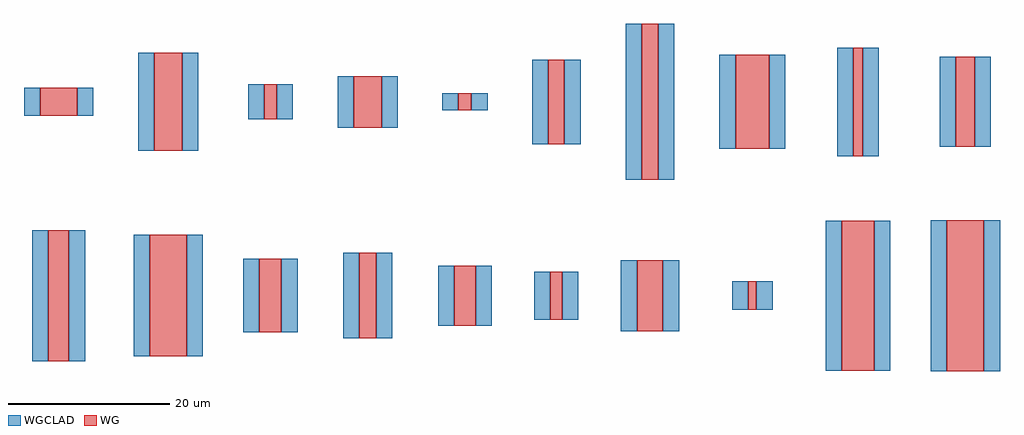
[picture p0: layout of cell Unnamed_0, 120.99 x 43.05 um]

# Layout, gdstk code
from math import pi, radians
import gdstk
lib = gdstk.Library(unit=1e-6, precision=1e-09)
def R(c, l, rs):  # rectangles x0, y0, x1, y1
    for r in rs: c.add(gdstk.rectangle(r[:2], r[2:], *l))
WG = (1, 0)
WGCLAD = (111, 0)

straight_cssym_f7fe636c_ = lib.new_cell('straight_CSsym_f7fe636c_1602_L2089')
R(straight_cssym_f7fe636c_, WG, [(0,-0.801,2.089,0.801)])
R(straight_cssym_f7fe636c_, WGCLAD, [(0,-2.801,2.089,-0.801), (0,0.801,2.089,2.801)])

c_straight_cssym_f7fe636c_ = lib.new_cell('straight_CSsym_f7fe636c_3418_L6376')
R(c_straight_cssym_f7fe636c_, WG, [(0,-1.709,6.376,1.709)])
R(c_straight_cssym_f7fe636c_, WGCLAD, [(0,-3.709,6.376,-1.709), (0,1.709,6.376,3.709)])

c_straight_cssym_f7fe636c__ = lib.new_cell('straight_CSsym_f7fe636c_2554_L16210')
R(c_straight_cssym_f7fe636c__, WG, [(0,-1.277,16.21,1.277)])
R(c_straight_cssym_f7fe636c__, WGCLAD, [(0,-3.277,16.21,-1.277), (0,1.277,16.21,3.277)])

c_straight_cssym_f7fe636c___ = lib.new_cell('straight_CSsym_f7fe636c_4594_L15047')
R(c_straight_cssym_f7fe636c___, WG, [(0,-2.297,15.047,2.297)])
R(c_straight_cssym_f7fe636c___, WGCLAD, [(0,-4.297,15.047,-2.297), (0,2.297,15.047,4.297)])

c_straight_cssym_f7fe636c____ = lib.new_cell('straight_CSsym_f7fe636c_2726_L9108')
R(c_straight_cssym_f7fe636c____, WG, [(0,-1.363,9.108,1.363)])
R(c_straight_cssym_f7fe636c____, WGCLAD, [(0,-3.363,9.108,-1.363), (0,1.363,9.108,3.363)])

c_straight_cssym_f7fe636c_____ = lib.new_cell('straight_CSsym_f7fe636c_2126_L10594')
R(c_straight_cssym_f7fe636c_____, WG, [(0,-1.063,10.594,1.063)])
R(c_straight_cssym_f7fe636c_____, WGCLAD, [(0,-3.063,10.594,-1.063), (0,1.063,10.594,3.063)])

c_straight_cssym_f7fe636c______ = lib.new_cell('straight_CSsym_f7fe636c_2666_L7448')
R(c_straight_cssym_f7fe636c______, WG, [(0,-1.333,7.448,1.333)])
R(c_straight_cssym_f7fe636c______, WGCLAD, [(0,-3.333,7.448,-1.333), (0,1.333,7.448,3.333)])

c_straight_cssym_f7fe636c_______ = lib.new_cell('straight_CSsym_f7fe636c_1462_L5964')
R(c_straight_cssym_f7fe636c_______, WG, [(0,-0.731,5.964,0.731)])
R(c_straight_cssym_f7fe636c_______, WGCLAD, [(0,-2.731,5.964,-0.731), (0,0.731,5.964,2.731)])

c_straight_cssym_f7fe636c________ = lib.new_cell('straight_CSsym_f7fe636c_2002_L10478')
R(c_straight_cssym_f7fe636c________, WG, [(0,-1.001,10.478,1.001)])
R(c_straight_cssym_f7fe636c________, WGCLAD, [(0,-3.001,10.478,-1.001), (0,1.001,10.478,3.001)])

c_straight_cssym_f7fe636c_________ = lib.new_cell('straight_CSsym_f7fe636c_3212_L8794')
R(c_straight_cssym_f7fe636c_________, WG, [(0,-1.606,8.794,1.606)])
R(c_straight_cssym_f7fe636c_________, WGCLAD, [(0,-3.606,8.794,-1.606), (0,1.606,8.794,3.606)])

c_straight_cssym_f7fe636c__________ = lib.new_cell('straight_CSsym_f7fe636c_1998_L19338')
R(c_straight_cssym_f7fe636c__________, WG, [(0,-0.999,19.338,0.999)])
R(c_straight_cssym_f7fe636c__________, WGCLAD, [(0,-2.999,19.338,-0.999), (0,0.999,19.338,2.999)])

c_straight_cssym_f7fe636c___________ = lib.new_cell('straight_CSsym_f7fe636c_1000_L3550')
R(c_straight_cssym_f7fe636c___________, WG, [(0,-0.5,3.55,0.5)])
R(c_straight_cssym_f7fe636c___________, WGCLAD, [(0,-2.5,3.55,-0.5), (0,0.5,3.55,2.5)])

c_straight_cssym_f7fe636c____________ = lib.new_cell('straight_CSsym_f7fe636c_4194_L11675')
R(c_straight_cssym_f7fe636c____________, WG, [(0,-2.097,11.675,2.097)])
R(c_straight_cssym_f7fe636c____________, WGCLAD, [(0,-4.097,11.675,-2.097), (0,2.097,11.675,4.097)])

c_straight_cssym_f7fe636c_____________ = lib.new_cell('straight_CSsym_f7fe636c_3984_L18577')
R(c_straight_cssym_f7fe636c_____________, WG, [(0,-1.992,18.577,1.992)])
R(c_straight_cssym_f7fe636c_____________, WGCLAD, [(0,-3.992,18.577,-1.992), (0,1.992,18.577,3.992)])

c_straight_cssym_f7fe636c______________ = lib.new_cell('straight_CSsym_f7fe636c_1164_L13466')
R(c_straight_cssym_f7fe636c______________, WG, [(0,-0.582,13.466,0.582)])
R(c_straight_cssym_f7fe636c______________, WGCLAD, [(0,-2.582,13.466,-0.582), (0,0.582,13.466,2.582)])

c_straight_cssym_f7fe636c_______________ = lib.new_cell('straight_CSsym_f7fe636c_4608_L18712')
R(c_straight_cssym_f7fe636c_______________, WG, [(0,-2.304,18.712,2.304)])
R(c_straight_cssym_f7fe636c_______________, WGCLAD, [(0,-4.304,18.712,-2.304), (0,2.304,18.712,4.304)])

c_straight_cssym_f7fe636c________________ = lib.new_cell('straight_CSsym_f7fe636c_2362_L11162')
R(c_straight_cssym_f7fe636c________________, WG, [(0,-1.181,11.162,1.181)])
R(c_straight_cssym_f7fe636c________________, WGCLAD, [(0,-3.181,11.162,-1.181), (0,1.181,11.162,3.181)])

c_straight_cssym_f7fe636c_________________ = lib.new_cell('straight_CSsym_f7fe636c_4586_L3479')
R(c_straight_cssym_f7fe636c_________________, WG, [(0,-2.293,3.479,2.293)])
R(c_straight_cssym_f7fe636c_________________, WGCLAD, [(0,-4.293,3.479,-2.293), (0,2.293,3.479,4.293)])

c_straight_cssym_f7fe636c__________________ = lib.new_cell('straight_CSsym_f7fe636c_3450_L12172')
R(c_straight_cssym_f7fe636c__________________, WG, [(0,-1.725,12.172,1.725)])
R(c_straight_cssym_f7fe636c__________________, WGCLAD, [(0,-3.725,12.172,-1.725), (0,1.725,12.172,3.725)])

c_straight_cssym_f7fe636c___________________ = lib.new_cell('straight_CSsym_f7fe636c_1536_L4373')
R(c_straight_cssym_f7fe636c___________________, WG, [(0,-0.768,4.373,0.768)])
R(c_straight_cssym_f7fe636c___________________, WGCLAD, [(0,-2.768,4.373,-0.768), (0,0.768,4.373,2.768)])

unnamed_0 = lib.new_cell('Unnamed_0')
unnamed_0.add(gdstk.Reference(straight_cssym_f7fe636c_, (59.657,37.337), rotation=pi/2))
unnamed_0.add(gdstk.Reference(c_straight_cssym_f7fe636c_, (47.615,35.193), rotation=pi/2))
unnamed_0.add(gdstk.Reference(c_straight_cssym_f7fe636c__, (9.293,6.251), rotation=pi/2))
unnamed_0.add(gdstk.Reference(c_straight_cssym_f7fe636c___, (22.883,6.833), rotation=pi/2))
unnamed_0.add(gdstk.Reference(c_straight_cssym_f7fe636c____, (35.543,9.802), rotation=pi/2))
unnamed_0.add(gdstk.Reference(c_straight_cssym_f7fe636c_____, (47.615,9.059), rotation=pi/2))
unnamed_0.add(gdstk.Reference(c_straight_cssym_f7fe636c______, (59.657,10.632), rotation=pi/2))
unnamed_0.add(gdstk.Reference(c_straight_cssym_f7fe636c_______, (70.991,11.374), rotation=pi/2))
unnamed_0.add(gdstk.Reference(c_straight_cssym_f7fe636c________, (70.991,33.142), rotation=pi/2))
unnamed_0.add(gdstk.Reference(c_straight_cssym_f7fe636c_________, (82.598,9.959), rotation=pi/2))
unnamed_0.add(gdstk.Reference(c_straight_cssym_f7fe636c__________, (82.598,28.712), rotation=pi/2))
unnamed_0.add(gdstk.Reference(c_straight_cssym_f7fe636c___________, (95.301,12.581), rotation=pi/2))
unnamed_0.add(gdstk.Reference(c_straight_cssym_f7fe636c____________, (95.301,32.544), rotation=pi/2))
unnamed_0.add(gdstk.Reference(c_straight_cssym_f7fe636c_____________, (108.39,5.068), rotation=pi/2))
unnamed_0.add(gdstk.Reference(c_straight_cssym_f7fe636c______________, (108.39,31.648), rotation=pi/2))
unnamed_0.add(gdstk.Reference(c_straight_cssym_f7fe636c_______________, (121.686,5), rotation=pi/2))
unnamed_0.add(gdstk.Reference(c_straight_cssym_f7fe636c________________, (121.686,32.8), rotation=pi/2))
unnamed_0.add(gdstk.Reference(c_straight_cssym_f7fe636c_________________, (9.293,36.642), rotation=pi/2))
unnamed_0.add(gdstk.Reference(c_straight_cssym_f7fe636c__________________, (22.883,32.295), rotation=pi/2))
unnamed_0.add(gdstk.Reference(c_straight_cssym_f7fe636c___________________, (35.543,36.195), rotation=pi/2))

lib.write_gds('Unnamed_0.gds')
